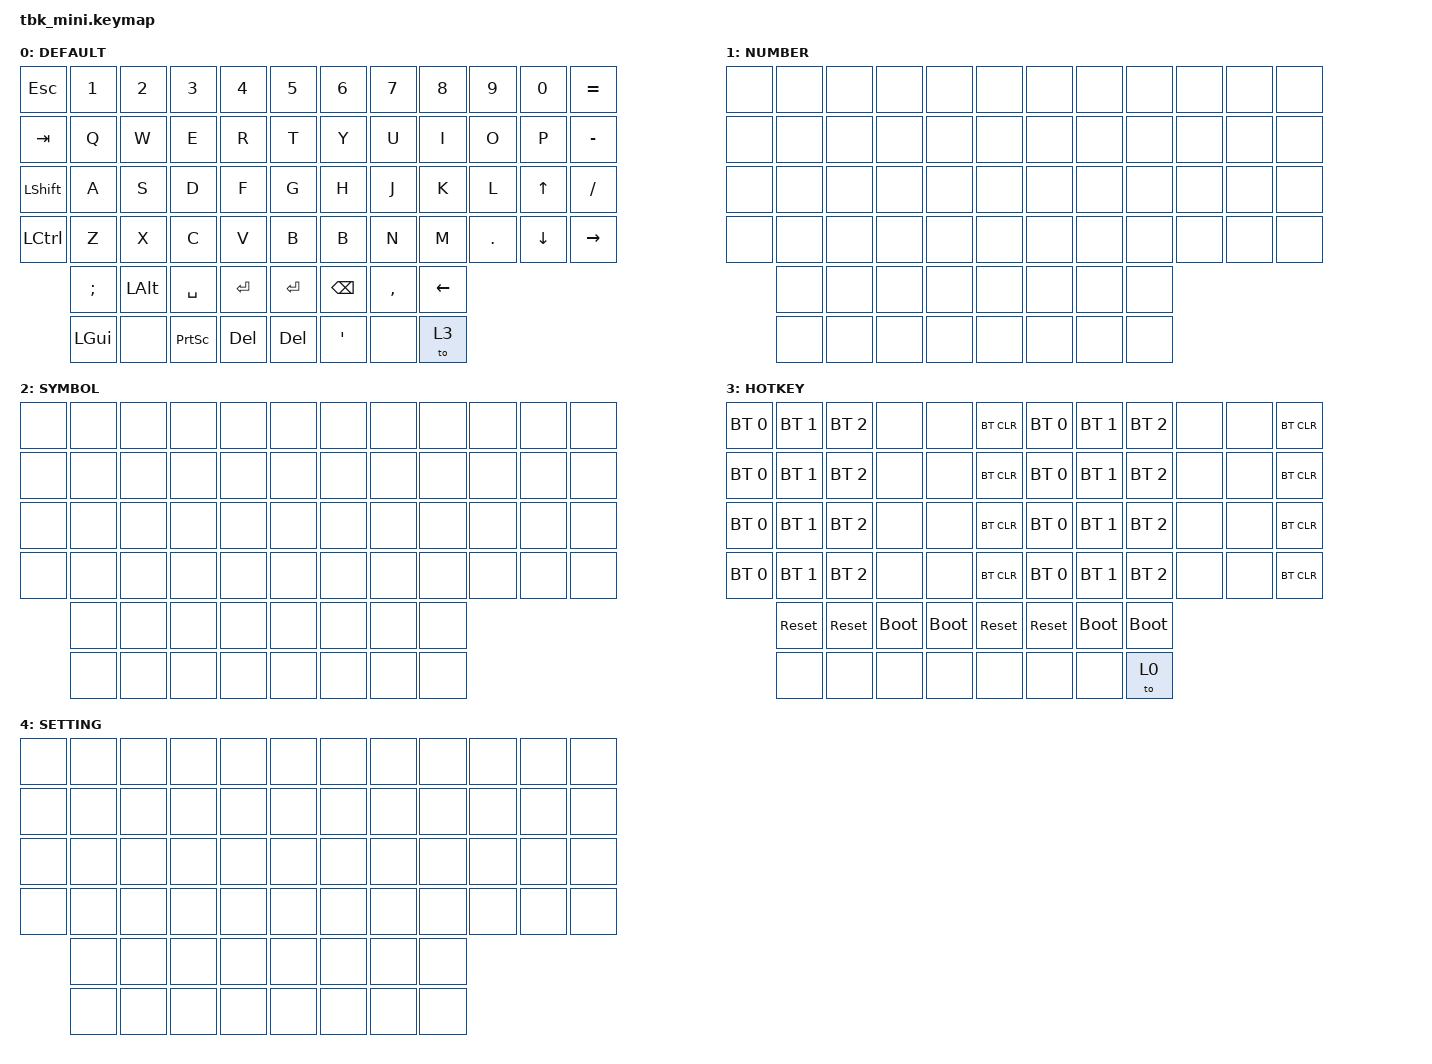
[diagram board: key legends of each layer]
/*
 * Copyright (c) 2020 The ZMK Contributors
 *
 * SPDX-License-Identifier: MIT
 */

#include <behaviors.dtsi>
#include <dt-bindings/zmk/keys.h>
#include <dt-bindings/zmk/bt.h>
#include <dt-bindings/zmk/rgb.h>
#include <dt-bindings/zmk/outputs.h>


#define DEFAULT 0
#define NUMBER  1
#define SYMBOL  2
#define HOTKEY  3
#define SETTING 4
#define AS(keycode) &as LS(keycode) keycode




/ {
        behaviors {
        td0: tap_dance_0 {
            compatible = "zmk,behavior-tap-dance";
            label = "TAP_DANCE_0";
            #binding-cells = <0>;
            tapping-term-ms = <200>;
            bindings = <&mo 0>, <&to 0>, <&to 0>;
        };
        
    };  

         behaviors {
       as: auto_shift {
        compatible = "zmk,behavior-hold-tap";
        label = "AUTO_SHIFT";
        #binding-cells = <2>;
        tapping-term-ms = <160>;
        quick-tap-ms = <0>;
        flavor = "tap-preferred";
        bindings = <&kp>, <&kp>;
                };
modcp: mod_copy {
        compatible = "zmk,behavior-mod-morph";
        label = "MOD_COPY";
        #binding-cells = <0>;
        bindings = <&as LS(C) C>, <&kp C>;
        mods = <(LGUI | RGUI)>;
};
  
        };


    macros {
        macro_phone: macro_phone {
            // 1351
            label = "MACRO_PHONE";
            compatible = "zmk,behavior-macro";
            #binding-cells = <0>;
            bindings
                = < &kp N1 &kp N3 &kp N5  &kp N1>
                ;
        };
        
        macro_email_g: macro_email_g {
            // 135115
            compatible = "zmk,behavior-macro";
            label = "MACRO_EMAIL_GMAIL";
            #binding-cells = <0>;
            bindings
                = < &kp N1 &kp N3 &kp N5  &kp N1 &kp N1 &kp N5 >
                ;
        };
         
    };
    
    

    keymap {
       compatible = "zmk,keymap";
       default_layer {
            label = "DEFAULT";
            bindings = <
&kp ESC	&kp N1	&kp N2	&kp N3	&kp N4	&kp N5	&kp N6	&kp N7	&kp N8	&kp N9	&kp N0	&kp EQUAL
 &kp TAB	&kp Q	&kp W	&kp E	&kp R	&kp T	&kp Y	&kp U	&kp I	&kp O	&kp P	&kp MINUS
 &kp LSHFT	&kp A	&kp S	&kp D	&kp F	&kp G	&kp H	&kp J	&kp K	&kp L	&kp UP	&kp SLASH
 &kp LCTRL	&kp Z	&kp X	&kp C	&kp V	&kp B	&kp B	&kp N	&kp M	&kp DOT	&kp DOWN	&kp RIGHT
    &kp SEMI	&kp LALT	&kp SPACE &kp ENTER	&kp ENTER	&kp BSPC	&kp COMMA	&kp LEFT
 &kp LGUI	&none	&kp PSCRN 	&kp DEL	 &kp DEL &kp SQT	&none	&to 3 

            >;
        };


          number_layer {
            label = "NUMBER";
            bindings = <
&none	&none	&none	&none	&none	&none	&none	&none	&none	&none	&none	&none
&none	&none	&none	&none	&none	&none	&none	&none	&none	&none	&none	&none
&none	&none	&none	&none	&none	&none	&none	&none	&none	&none	&none	&none
&none	&none	&none	&none	&none	&none	&none	&none	&none	&none	&none	&none
		&none	&none	&none	&none	&none	&none	&none	&none		
		&none	&none	&none	&none	&none	&none	&none	&none		

            >;
        };

        symbol_layer {
            label = "SYMBOL";
            bindings = <
&none	&none	&none	&none	&none	&none	&none	&none	&none	&none	&none	&none
&none	&none	&none	&none	&none	&none	&none	&none	&none	&none	&none	&none
&none	&none	&none	&none	&none	&none	&none	&none	&none	&none	&none	&none
&none	&none	&none	&none	&none	&none	&none	&none	&none	&none	&none	&none
		&none	&none	&none	&none	&none	&none	&none	&none		
		&none	&none	&none	&none	&none	&none	&none	&none	                                                                                         
        
         >;
        };


        hotkey_layer {
            label = "HOTKEY";
            bindings = <
&bt BT_SEL 0	&bt BT_SEL 1	&bt BT_SEL 2	&none	&none	&bt BT_CLR 	&bt BT_SEL 0	&bt BT_SEL 1	&bt BT_SEL 2	&none	&none	&bt BT_CLR 
&bt BT_SEL 0	&bt BT_SEL 1	&bt BT_SEL 2	&none	&none	&bt BT_CLR 	&bt BT_SEL 0	&bt BT_SEL 1	&bt BT_SEL 2	&none	&none	&bt BT_CLR 
&bt BT_SEL 0	&bt BT_SEL 1	&bt BT_SEL 2	&none	&none	&bt BT_CLR 	&bt BT_SEL 0	&bt BT_SEL 1	&bt BT_SEL 2	&none	&none	&bt BT_CLR 
&bt BT_SEL 0	&bt BT_SEL 1	&bt BT_SEL 2	&none	&none	&bt BT_CLR 	&bt BT_SEL 0	&bt BT_SEL 1	&bt BT_SEL 2	&none	&none	&bt BT_CLR 
		&sys_reset	&sys_reset	&bootloader	&bootloader	&sys_reset	&sys_reset	&bootloader	&bootloader		
		&none	&none	&none	&none	&none	&none	&none	&to 0		
                                                    
            >;
        };



        setting_layer {
            label = "SETTING";
            bindings = <
        &none &none &none &none &none &none                                                  &none &none &none &none &none &none
        &none &none &none &none &none &none                                                  &none &none &none &none &none &none
        &none &none &none &none &none &none                                                  &none &none &none &none &none &none
         &none &none &none &none &none &none                                                  &none &none &none &none &none &none
         &none &none &none &none                                                              &none &none &none &none
          &none &none &none &none                                                              &none &none &none &none  
           >;
       };
   };
};
